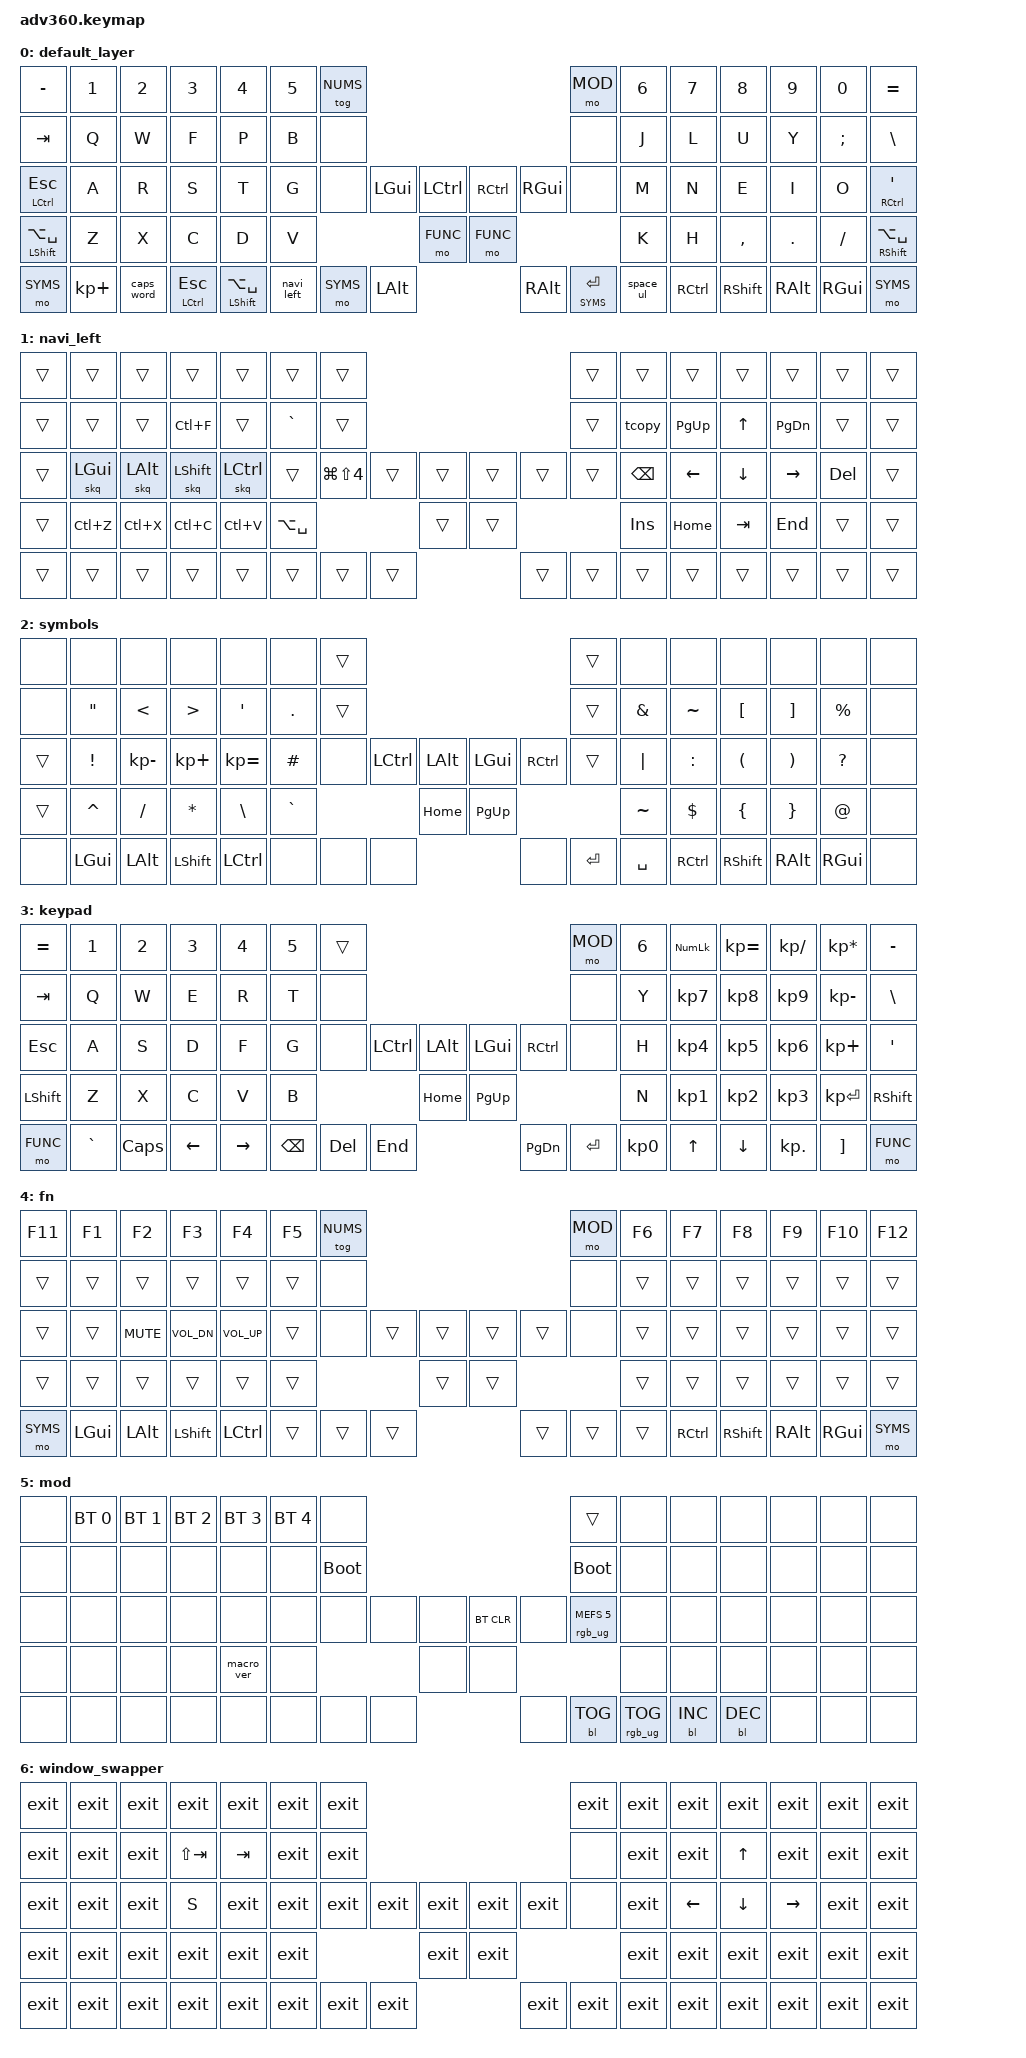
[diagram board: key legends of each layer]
#include <behaviors.dtsi>
#include <dt-bindings/zmk/keys.h>
#include <dt-bindings/zmk/bt.h>
#include <dt-bindings/zmk/rgb.h>
#include <dt-bindings/zmk/backlight.h>

#define NAVI_LEFT 1
#define SYMS 2
#define NUMS 3
#define FUNC 4
#define MOD  5
#define SWAPPER 6

#define KEYS_L   0  1  2  3  4  5  6 \
                14 15 16 17 18 19 20 \
                28 29 30 31 32 33 34 \
                46 47 48 49 50 51    \
                60 61 62 63 64

#define THUMBS_LEFT     35 36 \
                           52 \
                     65 66 67 \

#define KEYS_R   7  8  9 10 11 12 13 \
                21 22 23 24 25 26 27 \
                39 40 41 42 43 44 45 \
                   54 55 56 57 58 59 \
                      71 72 73 74 75

#define THUMBS_RIGHT 37 38    \
                     53       \
                     68 69 70 \

#define RIGHT_HOME_ROW 42 43 44 45
#define TMUX LA(SPACE)

/ {
    macros {
        tcopy: tmux_copy_mode {
            label = "TMUX_COPY_MODE";
            compatible = "zmk,behavior-macro";
            #binding-cells = <0>;
            bindings
                = <&macro_tap &kp TMUX &kp LBKT>
                ;
        };

        swapper: enter_window_swapper {
            label = "ENTER_WINDOW_SWAPPER";
            compatible = "zmk,behavior-macro";
            #binding-cells = <0>;
            bindings
                = <&macro_press &mo SWAPPER &kp LGUI>
                , <&macro_tap &kp TAB>
                ;
        };

        exit: exit_window_swapper {
            label = "EXIT_WINDOW_SWAPPER";
            compatible = "zmk,behavior-macro";
            #binding-cells = <0>;
            bindings
                = <&macro_release &kp LGUI &mo SWAPPER>
                ;
        };

    };
};


/ {
    behaviors {
      #include "macros.dtsi"
      #include "version.dtsi"
      #ifndef VERSION_MACRO
      macro_ver: macro_ver {
        compatible = "zmk,behavior-macro";
        label = "macro_version";
        #binding-cells = <0>;
        bindings = <&kp RET>;
      };
      #endif

      hm: homerow_mods {
          compatible = "zmk,behavior-hold-tap";
          label = "HOMEROW_MODS";
          #binding-cells = <2>;
          tapping-term-ms = <200>;
          quick-tap-ms = <175>;
          flavor = "tap-preferred";
          bindings = <&kp>, <&kp>;
      };

      lm: layer_mod {
          compatible = "zmk,behavior-hold-tap";
          label = "LAYER_HOLD_TAP";
          #binding-cells = <2>;
          tapping-term-ms = <200>;
          quick-tap-ms = <200>;
          flavor = "tap-preferred";
          bindings = <&mo>, <&kp>;
      };

      hml: homerow_mods_left {
        compatible = "zmk,behavior-hold-tap";
        #binding-cells = <2>;
        flavor = "balanced";
        tapping-term-ms = <280>;
        quick-tap-ms = <175>;
        require-prior-idle-ms = <150>;
        bindings = <&kp>, <&kp>; 
        hold-trigger-key-positions = <KEYS_R THUMBS_RIGHT>;
        hold-trigger-on-release;
      };

      hmr: homerow_mods_right {
        compatible = "zmk,behavior-hold-tap";
        #binding-cells = <2>;
        flavor = "balanced";
        tapping-term-ms = <280>;
        quick-tap-ms = <175>;
        require-prior-idle-ms = <150>;
        bindings = <&kp>, <&kp>; 
        hold-trigger-key-positions = <KEYS_L THUMBS_LEFT>;
        hold-trigger-on-release;
      };

      nhmr: navi_homerow_mod_right {
          compatible = "zmk,behavior-hold-tap";
          label = "HOMEROW_MOD_RIGHT";
          #binding-cells = <2>;
          tapping-term-ms = <150>;
          quick-tap-ms = <200>;
          global-quick-tap;
          flavor = "tap-preferred";
          bindings = <&mo>, <&kp>;
          hold-trigger-key-positions = <RIGHT_HOME_ROW>;
      };

      mtq: mod_tap_quick_tap {
          compatible = "zmk,behavior-hold-tap";
          label = "MOD_TAP_WITH_QUICK_TAP";
          #binding-cells = <2>;
          tapping-term-ms = <200>;
          quick-tap-ms = <175>;
          flavor = "hold-preferred";
          bindings = <&kp>, <&kp>;
      };

      lh: layer_hold_preferred {
          compatible = "zmk,behavior-hold-tap";
          label = "LAYER_HOLD_PREFERRED";
          #binding-cells = <2>;
          tapping-term-ms = <200>;
          quick-tap-ms = <200>;
          flavor = "hold-preferred";
          bindings = <&mo>, <&kp>;
      };

      space_ul: space_underline {
          compatible = "zmk,behavior-mod-morph";
          label = "SPACE_UNDERLINE";
          #binding-cells = <0>;
          bindings = <&kp SPACE>, <&kp UNDER>;
          mods = <(MOD_LSFT)>;
      };

      navi_left: navi_left {
          compatible = "zmk,behavior-mod-morph";
          label = "NAVI_LEFT";
          #binding-cells = <0>;
          bindings = <&lm NAVI_LEFT BSPC>, <&kp DEL>;
          mods = <(MOD_LSFT|MOD_RSFT)>;
      };

      // navi_right: navi_right {
      //     compatible = "zmk,behavior-mod-morph";
      //     label = "NAVI_RIGHT";
      //     #binding-cells = <0>;
      //     bindings = <&nhmr NAVI_RIGHT SPACE>, <&kp UNDER>;
      //     mods = <(MOD_LSFT|MOD_RSFT)>;
      // };

      skq: sticky_key_quick_release {
          compatible = "zmk,behavior-sticky-key";
          label = "STICKY_KEY_QUICK_RELEASE";
          #binding-cells = <1>;
          bindings = <&kp>;
          release-after-ms = <1000>;
          quick-release;
          ignore-modifiers;
      };

      clp: comma_left_parens {
          compatible = "zmk,behavior-mod-morph";
          label = "COMMA_LEFT_PARENS";
          #binding-cells = <0>;
          bindings = <&kp COMMA>, <&kp LPAR>;
          mods = <(MOD_LSFT|MOD_RSFT)>;
      };

      drp: dot_right_parens {
          compatible = "zmk,behavior-mod-morph";
          label = "DOT_RIGHT_PARENS";
          #binding-cells = <0>;
          bindings = <&kp KP_DOT>, <&kp RPAR>;
          mods = <(MOD_LSFT|MOD_RSFT)>;
      };

      n9l: n9_less_than {
          compatible = "zmk,behavior-mod-morph";
          label = "N9_LESS_THAN";
          #binding-cells = <0>;
          bindings = <&kp KP_N9>, <&kp LT>;
          mods = <(MOD_LSFT|MOD_RSFT)>;
      };

      n0g: n0_greater_than {
          compatible = "zmk,behavior-mod-morph";
          label = "N0_GREATER_THAN";
          #binding-cells = <0>;
          bindings = <&kp KP_N0>, <&kp GT>;
          mods = <(MOD_LSFT|MOD_RSFT)>;
      };
  };

  keymap {
    compatible = "zmk,keymap";

    // -----------------------------------------------------------------------------------------------------------------------------------------
    // |  -       |  1  |  2  |  3  |  4  |  5  | NUMS |                                            | MOD  |  6  |  7  |  8  |  9  |  0  |  =   |
    // |  TAB     |  Q  |  W  |  F  |  P  |  B  | NONE |                                            | NONE |  J  |  L  |  U  |  Y  |  :  |  \   |
    // | ESC/CTRL |  A  |  R  |  S  |  T  |  G  | NONE |      | LGUI | LCRTL | RCTRL | RGUI |       | NONE |  M  |  N  |  E  |  I  |  O  |  "   |
    // | SHFT     |  Z  |  X  |  C  |  D  |  V  |                    | FUNC  | FUNC  |                     |  K  |  H  |  ,  |  .  |  /  | SHFT |
    // | SYMS     |  +  | CAPS|  `  |  -  |            | NAVI | SYMS | LALT  | RALT  | SYMS | SPC_UL|            |RCTRL|RSHFT|RALT |RGUI | SYMS |
    // -----------------------------------------------------------------------------------------------------------------------------------------

    default_layer {
      bindings = <
        &kp MINUS      &kp N1       &kp N2     &kp N3         &kp N4         &kp N5 &tog NUMS                                                                       &mo MOD &kp N6 &kp N7    &kp N8     &kp N9    &kp N0   &kp EQUAL
        &kp TAB        &kp Q        &kp W      &kp F          &kp P          &kp B  &none                                                                           &none   &kp J  &kp L     &kp U      &kp Y     &kp SEMI &kp BSLH
        &mtq LCTRL ESC &kp A        &kp R      &kp S          &kp T          &kp G  &none                     &kp LGUI &kp LCTRL &kp RCTRL &kp RGUI                 &none   &kp M  &kp N     &kp E      &kp I     &kp O    &hm RCTRL SQT
        &mt LSHFT TMUX &kp Z        &kp X      &kp C          &kp D          &kp V                                     &mo FUNC  &mo FUNC                                   &kp K  &kp H     &kp COMMA  &kp DOT   &kp FSLH &mt RSHFT TMUX
        &mo SYMS       &kp KP_PLUS  &caps_word &mtq LCTRL ESC &mt LSHFT TMUX                       &navi_left &mo SYMS &kp LALT  &kp RALT  &lh SYMS ENTER &space_ul                &kp RCTRL &kp RSHIFT &kp RALT  &kp RGUI &mo SYMS
      >;
    };

    // --------------------------------------------------------------------------------------------------------------------------------
    // |          |        |        |        |         |       |            |                                             |      |       |       |      |       |     |     |
    // |          |        |        | LC(F)  |         | GRAVE |            |                                             |      | TCOPY | PG_UP | UP   | PG_DN |     |     |
    // |          | LGUI   | LALT   | LSHFT  | LCTRL   |       | LG(LS(N4)) |      |       |       |       |       |      |      | BKSP  | LEFT  | DOWN | RIGHT | DEL |     |
    // |          | UNDO   | CUT    | COPY   | PASTE   | TMUX  |                           |       |       |                     | INS   | HOME  | TAB  | END   |     |     |
    // |          |        |        |        |         |                           | [NAV] |       |       |   _   |                     |       |      |       |     |     |

    navi_left {
      bindings = <
        &trans &trans    &trans    &trans     &trans     &trans    &trans                                                  &trans &trans   &trans    &trans   &trans    &trans  &trans
        &trans &trans    &trans    &kp LC(F)  &trans     &kp GRAVE &trans                                                  &trans &tcopy   &kp PG_UP &kp UP   &kp PG_DN &trans  &trans
        &trans &skq LGUI &skq LALT &skq LSHFT &skq LCTRL &trans    &kp LG(LS(N4))   &trans &trans &trans &trans            &trans &kp BSPC &kp LEFT  &kp DOWN &kp RIGHT &kp DEL &trans
        &trans &kp LC(Z) &kp LC(X) &kp LC(C)  &kp LC(V)  &kp TMUX                          &trans &trans                          &kp INS  &kp HOME  &kp TAB  &kp END   &trans  &trans
        &trans &trans    &trans    &trans     &trans                         &trans &trans &trans &trans &trans &trans                     &trans    &trans   &trans    &trans  &trans
      >;
    };

    // ---------------------------------------------------------------------------------------------------------------------------------
    // |     |     |     |     |     |     |      |                                           |      |     |     |     |     |     |     |
    // |     |  "  |  <  |  >  |  '  |  .  |      |                                           |      |  &  |  ~  |  [  |  ]  |  %  |     |
    // |     |  !  |  -  |  +  |  =  |  #  |      |      |      |       |       |      |      |      |  |  |  :  |  (  |  )  |  ?  |     |
    // |     |  ^  |  /  |  *  |  \  |  `  |                    |       |       |                    |  ~  |  $  |  {  |  }  |  @  |     |
    // |     | LGUI| LALT|LSHFT|LCTRL|            |      |      | [SYMS]|       |      |      |            |RCTRL|RSHFT| RALT| RGUI|     |

    symbols {
      bindings = <
        &none    &none     &none        &none       &none        &none     &trans                                                                  &trans   &none     &none     &none     &none     &none     &none
        &none    &kp DQT   &kp LT       &kp GT      &kp SQT      &kp DOT   &trans                                                                  &trans   &kp AMPS  &kp TILDE &kp LBKT  &kp RBKT  &kp PRCNT &none
        &trans   &kp EXCL  &kp KP_MINUS &kp KP_PLUS &kp KP_EQUAL &kp HASH  &none                 &kp LCTRL &kp LALT &kp LGUI  &kp RCTRL            &trans   &kp PIPE  &kp COLON &kp LPAR  &kp RPAR  &kp QMARK &none
        &trans   &kp CARET &kp FSLH     &kp STAR    &kp BSLH     &kp GRAVE                                 &kp HOME &kp PG_UP                               &kp TILDE &kp DLLR  &kp LBRC  &kp RBRC  &kp AT    &none
        &none    &kp LGUI  &kp LALT     &kp LSHFT   &kp LCTRL                           &none     &none    &none    &none     &kp ENTER &kp SPACE                     &kp RCTRL &kp RSHFT &kp RALT  &kp RGUI  &none
      >;
    };

    keypad {
      bindings = <
        &kp EQUAL &kp N1    &kp N2   &kp N3   &kp N4     &kp N5 &trans                                                           &mo MOD &kp N6 &kp KP_NUM &kp KP_EQUAL &kp KP_DIVIDE &kp KP_MULTIPLY &kp MINUS
        &kp TAB   &kp Q     &kp W    &kp E    &kp R      &kp T  &none                                                            &none   &kp Y  &kp KP_N7  &kp KP_N8    &kp KP_N9     &kp KP_MINUS    &kp BSLH
        &kp ESC   &kp A     &kp S    &kp D    &kp F      &kp G  &none           &kp LCTRL &kp LALT &kp LGUI  &kp RCTRL           &none   &kp H  &kp KP_N4  &kp KP_N5    &kp KP_N6     &kp KP_PLUS     &kp SQT
        &kp LSHFT &kp Z     &kp X    &kp C    &kp V      &kp B                            &kp HOME &kp PG_UP                             &kp N  &kp KP_N1  &kp KP_N2    &kp KP_N3     &kp KP_ENTER    &kp RSHFT
        &mo FUNC  &kp GRAVE &kp CAPS &kp LEFT &kp RIGHT                &kp BSPC &kp DEL   &kp END  &kp PG_DN &kp ENTER &kp KP_N0                &kp UP     &kp DOWN     &kp KP_DOT    &kp RBKT        &mo FUNC
      >;
    };

    // ---------------------------------------------------------------------------------------------------------------------------------
    // | F11 |  F1 |  F2 |  F3 |  F4 |  F5 |      |                                           |      | F6  | F7  | F8  | F9  | F10 | F12 |
    // |     |  "  |  <  |  >  |  '  |  .  |      |                                           |      |  &  |  ~  |  [  |  ]  |  %  |     |
    // |     |  !  |  -  |  +  |  =  |  #  |      |      |      |       |       |      |      |      |  |  |  :  |  (  |  )  |  ?  |     |
    // |     |  ^  |  /  |  *  |  \  |  `  |                    |       |       |                    |  ~  |  $  |  {  |  }  |  @  |     |
    // |     | LGUI| LALT|LSHFT|LCTRL|            |      |      | [SYMS]|       |      |      |            |RCTRL|RSHFT| RALT| RGUI|     |
    fn {
      bindings = <
        &kp F11  &kp F1   &kp F2     &kp F3       &kp F4       &kp F5 &tog NUMS                                                     &mo MOD &kp F6 &kp F7    &kp F8     &kp F9   &kp F10  &kp F12
        &trans   &trans   &trans     &trans       &trans       &trans &none                                                         &none   &trans &trans    &trans     &trans   &trans   &trans
        &trans   &trans   &kp C_MUTE &kp C_VOL_DN &kp C_VOL_UP &trans &none         &trans &trans &trans &trans                     &none   &trans &trans    &trans     &trans   &trans   &trans
        &trans   &trans   &trans     &trans       &trans       &trans                      &trans &trans                                    &trans &trans    &trans     &trans   &trans   &trans
        &mo SYMS &kp LGUI &kp LALT   &kp LSHFT    &kp LCTRL                  &trans &trans &trans &trans &trans &trans                             &kp RCTRL  &kp RSHFT  &kp RALT &kp RGUI &mo SYMS
        // &mo FUNC  &kp GRAVE &kp CAPS &kp LEFT &kp RIGHT                &kp BSPC &kp DEL   &kp END  &kp PG_DN &kp ENTER &kp KP_N0                &kp UP     &kp DOWN     &kp KP_DOT    &kp RBKT        &mo FUNC
      >;
    };

    // --------------------------------------------------------------------------------------------------------------------------------------
    // |     | BT0 | BT1 | BT2 | BT3 | BT4 |      |                                            | [MOD]|     |      |      |     |     |     | 
    // |     |     |     |     |     |     |[BOOT]|                                            | [BOOT]     |      |      |     |     |     |
    // |     |     |     |     |     |     |      |      |      |       |       |      |       |      |     |      |      |     |     |     |
    // |     |     |     |     |[VER]|     |                    |       |       |                     |     |      |      |     |     |     |
    // |     |     |     |     |     |            |      |      |       |       |BT_TOG|RGB_TOG|            |BL_INC|BL_DEC|     |     |     |

    mod {
      bindings = <
        &none &bt BT_SEL 0 &bt BT_SEL 1 &bt BT_SEL 2 &bt BT_SEL 3 &bt BT_SEL 4 &none                                                                     &trans                 &none        &none        &none        &none &none &none
        &none &none        &none        &none        &none        &none        &bootloader                                                               &bootloader            &none        &none        &none        &none &none &none
        &none &none        &none        &none        &none        &none        &none                   &none &none &bt BT_CLR &none                      &rgb_ug RGB_MEFS_CMD 5 &none        &none        &none        &none &none &none
        &none &none        &none        &none        &macro_ver   &none                                      &none &none                                                        &none        &none        &none        &none &none &none
        &none &none        &none        &none        &none                                       &none &none &none &none      &bl BL_TOG &rgb_ug RGB_TOG                                     &bl BL_INC   &bl BL_DEC   &none &none &none
      >;
    };

    window_swapper {
      bindings = <
        &exit &exit &exit &exit       &exit   &exit &exit                                        &exit &exit &exit    &exit    &exit     &exit &exit 
        &exit &exit &exit &kp LS(TAB) &kp TAB &exit &exit                                        &none &exit &exit    &kp UP   &exit     &exit &exit
        &exit &exit &exit &kp S       &exit   &exit &exit        &exit &exit &exit &exit         &none &exit &kp LEFT &kp DOWN &kp RIGHT &exit &exit
        &exit &exit &exit &exit       &exit   &exit                    &exit &exit                     &exit &exit    &exit    &exit     &exit &exit
        &exit &exit &exit &exit       &exit                &exit &exit &exit &exit &exit &exit               &exit    &exit    &exit     &exit &exit
      >;
    };

  };
};
